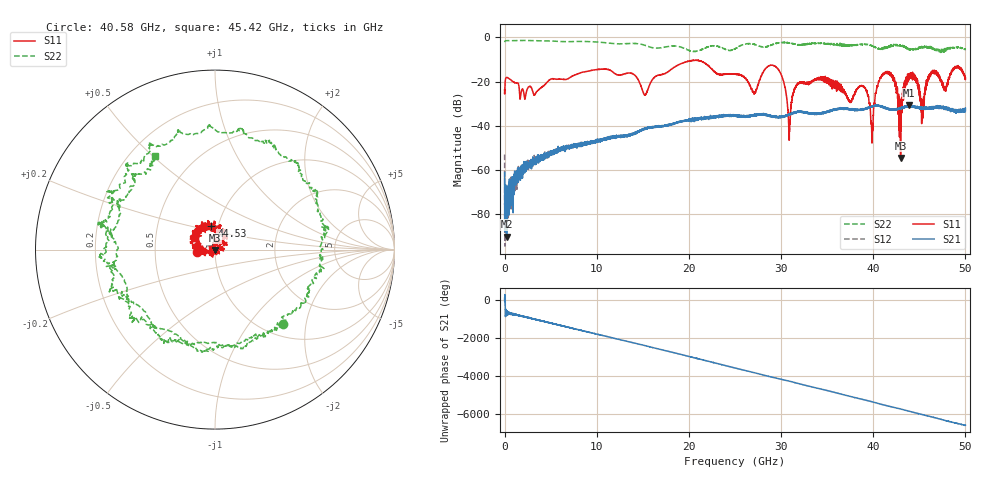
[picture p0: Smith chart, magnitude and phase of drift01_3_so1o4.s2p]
!Created with skrf (http://scikit-rf.org).
# Hz S RI R 50.0
!freq ReS11 ImS11 ReS21 ImS21 ReS12 ImS12 ReS22 ImS22
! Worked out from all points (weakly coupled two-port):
!   10001 points, 300 kHz to 50 GHz, reference 50 ohm
!   highest |S21| = -30.56 dB at 43.9 GHz (marker M1); lowest = -90.1 dB at 220.3 MHz (marker M2)
!   lowest |S11| = -54.5 dB at 42.97 GHz (marker M3), VSWR 1.00, Z = 50 - j0.184 ohm
!   |S11| at or under -10 dB: start of sweep to end of sweep
!   |S22| runs from -6.8 to -1.4 dB; largest |S21 - S12| = 0.0039
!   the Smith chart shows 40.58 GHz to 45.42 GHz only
!   S11 on the Smith chart (normalised r, x): 40.58 GHz: 0.82, -0.02; 44.53 GHz: 0.93, +0.25; 45.42 GHz: 0.97, +0.00
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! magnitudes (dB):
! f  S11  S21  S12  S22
! 300 kHz  -23.7  -61.0  -52.9  -2.1
! 220.3 MHz  -18.1  -90.1  -68.7  -1.4
! 2.88 GHz  -22.6  -55.4  -56.9  -1.4
! 8.335 GHz  -15.9  -48.4  -47.8  -1.8
! 15.23 GHz  -26.0  -41.1  -41.2  -3.6
! 16.67 GHz  -17.0  -40.3  -40.3  -4.8
! 25 GHz  -16.6  -35.5  -35.3  -5.2
! 27.11 GHz  -25.1  -35.3  -35.0  -3.2
! 29.41 GHz  -13.2  -36.1  -36.2  -2.8
! 30.91 GHz  -42.8  -35.1  -35.1  -2.5
! 31.66 GHz  -21.9  -33.7  -33.8  -3.1
! 33.34 GHz  -20.1  -34.5  -34.4  -2.7
! 38.92 GHz  -22.2  -32.4  -32.4  -3.0
! 39.86 GHz  -44.6  -31.1  -31.2  -3.7
! 40.58 GHz  -20.0  -31.0  -30.9  -5.0
! 41.67 GHz  -16.4  -32.2  -32.4  -4.4
! 42.97 GHz  -54.5  -32.2  -31.9  -3.8
! 43.9 GHz  -17.9  -30.6  -31.2  -5.1
! 44.53 GHz  -17.6  -31.4  -31.6  -5.6
! 45.42 GHz  -36.4  -31.9  -31.8  -4.1
! 46.45 GHz  -15.2  -31.8  -31.6  -4.7
! 50 GHz  -18.3  -32.4  -33.0  -5.4
